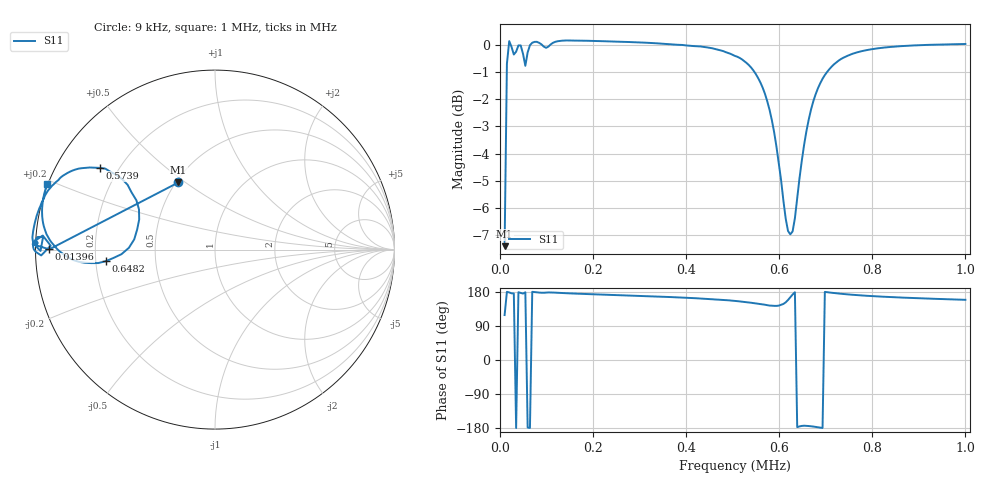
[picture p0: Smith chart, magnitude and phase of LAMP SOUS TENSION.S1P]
!Agilent Technologies,E5071C,MY46109397,A.09.54
!Date: Mon Jan 01 01:47:56 2001
!Data & Calibration Information:
!Freq	S11:SOLT1(ON)
# Hz S RI R 50
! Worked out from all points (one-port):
!   201 points, 9 kHz to 1 MHz, reference 50 ohm
!   lowest |S11| = -7.4 dB at 9 kHz (marker M1), VSWR 2.48, Z = 25.7 + j23.5 ohm
!   |S11| at or under -10 dB: nowhere
!   S11 on the Smith chart (normalised r, x): 9 kHz: 0.51, +0.47; 13.96 kHz: 0.04, +0.00; 573.9 kHz: 0.13, +0.31; 648.2 kHz: 0.24, -0.05; 1 MHz: -0.00, +0.19
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9000  -0.204 0.3741
13955  -0.9233 0.00151
18910  -1.016 0.0301
23865  -0.9898 0.07
28820  -0.9578 0.0711
33775  -0.9721 -0.00757
43685  -0.9967 0.053
48640  -0.9595 0.0783
53595  -0.9152 0.0213
58550  -0.9685 -0.0325
68460  -1.01 0.00181
98190  -0.9874 0.0368
132875  -1.017 0.0594
256750  -1.002 0.1581
380625  -0.9682 0.2541
504500  -0.8725 0.3873
544140  -0.7791 0.4457
573870  -0.6427 0.4553
598645  -0.4869 0.3608
613510  -0.4235 0.2238
628375  -0.4499 0.0572
638285  -0.5207 -0.0253
648195  -0.6091 -0.0646
668015  -0.7573 -0.0683
692790  -0.8666 -0.00917
752250  -0.9518 0.1238
876125  -0.9587 0.2734
1000000  -0.9366 0.3628
